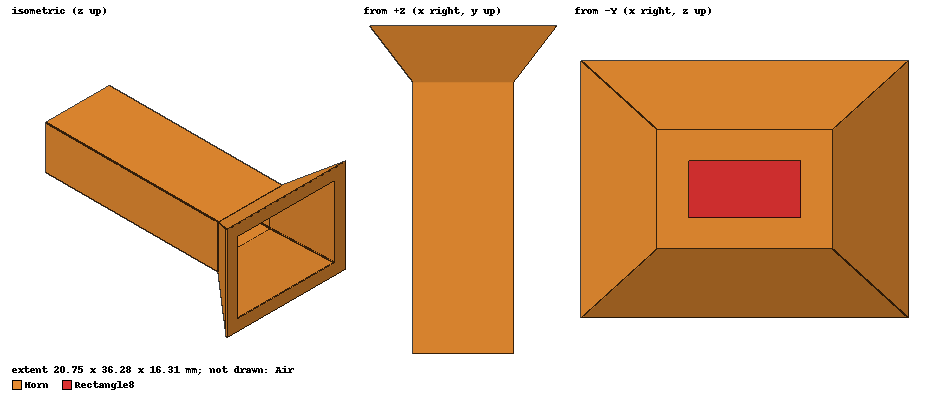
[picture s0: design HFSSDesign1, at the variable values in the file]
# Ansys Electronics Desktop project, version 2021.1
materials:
  vacuum: permittivity=1
  copper: permeability=0.999991 conductivity=58000000

design HFSSDesign1 (HFSS, DrivenModal, model units mm)
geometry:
  Rectangle2 = rectangle(corner=(4.82mm, -6.28mm, 4.38mm), z_size=3.56mm, x_size=7.11mm)
  Polyline1 = polyline(xyz in mm: (11.93, -6.28, 7.94) (16.75, 0, 12.31) (16.75, 0, 0) (11.93, -6.28, 4.38) (11.93, -6.28, 7.94), closed, covered)
  Polyline2 = polyline(xyz in mm: (11.93, -6.28, 7.94) (16.75, 0, 12.31) (0, 0, 12.31) (4.82, -6.28, 7.94) (11.93, -6.28, 7.94), closed, covered)
  Polyline3 = polyline(xyz in mm: (4.82, -6.28, 7.94) (4.82, -6.28, 4.38) (0, 0, 0) (0, 0, 12.31) (4.82, -6.28, 7.94), closed, covered)
  Polyline4 = polyline(xyz in mm: (4.82, -6.28, 4.38) (11.93, -6.28, 4.38) (16.75, 0, 0) (0, 0, 0) (4.82, -6.28, 4.38), closed, covered)
  Polyline2.sweep_along_vector((0mm, 0mm, 2mm))
  Polyline1.sweep_along_vector((2mm, 0mm, 0mm))
  Polyline3.sweep_along_vector((-2mm, 0mm, 0mm))
  Polyline4.sweep_along_vector((0mm, 0mm, -2mm))
  Rectangle3 = rectangle(corner=(16.75mm, 0mm, 14.31mm), z_size=-2mm, x_size=2mm)
  Rectangle3.sweep_along_vector((-4.82mm, -6.28mm, -4.37mm))
  Rectangle4 = rectangle(corner=(-2mm, 0mm, 12.31mm), z_size=2mm, x_size=2mm)
  Rectangle4.sweep_along_vector((4.82mm, -6.28mm, -4.37mm))
  Rectangle5 = rectangle(corner=(-2mm, 0mm, 0mm), z_size=-2mm, x_size=2mm)
  Rectangle5.sweep_along_vector((4.82mm, -6.28mm, 4.38mm))
  Rectangle6 = rectangle(corner=(18.75mm, 0mm, 0mm), z_size=-2mm, x_size=-2mm)
  Rectangle6.sweep_along_vector((-4.82mm, -6.28mm, 4.38mm))
  Rectangle4.unite(Polyline2, Polyline1, Rectangle3, Rectangle6, Polyline4, Rectangle5, Polyline3)
  Rectangle2.sweep_along_vector((0mm, -30mm, 0mm))
  Horn [copper] = rectangle(corner=(2.82mm, -6.28mm, 9.94mm), z_size=-7.56mm, x_size=11.11mm)
  Horn.sweep_along_vector((0mm, -30mm, 0mm))
  Horn.subtract(Rectangle2)
  Rectangle8 = rectangle(corner=(4.82mm, -36.28mm, 7.94mm), z_size=-3.56mm, x_size=7.11mm)
  Horn.unite(Rectangle4)
  Rectangle9 = rectangle(corner=(-5mm, 5mm, -5mm), z_size=22.31mm, x_size=27.75mm)
  Air = Rectangle9.duplicate_along_line(step=(0mm, -41.28mm, 0mm), total=2)
  Polyline5 = polyline(z=17.31mm, xy in mm: (-5, -36.28) (-5, 5) (22.75, 5) (22.75, -36.28) (-5, -36.28), closed, covered)
  Polyline6 = polyline(x=22.75mm, yz in mm: (-36.28, 17.31) (5, 17.31) (5, -5) (-36.28, -5) (-36.28, 17.31), closed, covered)
  Polyline7 = polyline(z=-5mm, xy in mm: (-5, 5) (-5, -36.28) (22.75, -36.28) (22.75, 5) (-5, 5), closed, covered)
  Polyline8 = polyline(x=-5mm, yz in mm: (5, 17.31) (-36.28, 17.31) (-36.28, -5) (5, -5) (5, 17.31), closed, covered)
  Air.unite(Rectangle9, Polyline8, Polyline7, Polyline6, Polyline5)
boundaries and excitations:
  Rad1: Radiation Objects=Air
  1: Wave Port Objects=Rectangle8 NumModes=1 Modes{Mode1{IntLine{middle of Rectangle8.edge(z opposite corner) -> middle of Rectangle8.edge(z at corner)} CharImp=Zpi}}
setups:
  Setup1: HfssDriven Frequency=35GHz MaxDeltaS=0.02 MaximumPasses=16 MinimumPasses=1 MinimumConvergedPasses=1 PercentRefinement=30 BasisOrder=1 PortAccuracy=2
    sweep Sweep: 26GHz to 40GHz, 401 points; Type=Discrete
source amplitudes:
  1:1: 1W 0deg
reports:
  S Parameter Plot 1: dB(S(1,1)) vs Freq on Setup1 : Sweep
  S Parameter WR28: dB(S(1,1)) vs Freq on Setup1 : Sweep; markers m1 at 34.995GHz
